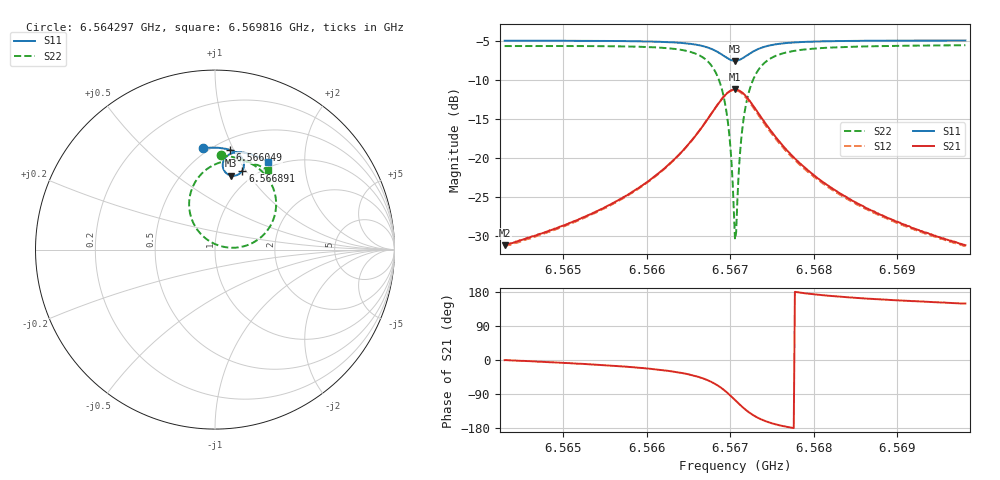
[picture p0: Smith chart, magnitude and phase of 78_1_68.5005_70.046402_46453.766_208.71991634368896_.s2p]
#  HZ  S  RI  R  50.00
! Rohde & Schwarz Vector Network Analyzer
! Rohde-Schwarz,ZNB20-2Port,1311601062101988,3.16
! Created: UTC 3/20/2024, 5:07:10 PM
! freq[Hz]  re:S11  im:S11  re:S21  im:S21  re:S12  im:S12  re:S22  im:S22
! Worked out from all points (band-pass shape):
!   401 points, 6.564297 GHz to 6.569816 GHz, reference 50 ohm
!   highest |S21| = -11.17 dB at 6.567056 GHz (marker M1); lowest = -31.2 dB at 6.564297 GHz (marker M2)
!   |S21| within 3 dB of the highest: 6.566782 GHz to 6.567333 GHz (550.9 kHz wide, 0.00839 % of centre)
!   lowest |S11| = -7.5 dB at 6.567056 GHz (marker M3), VSWR 2.46, Z = 41.1 + j41.3 ohm
!   |S11| at or under -10 dB: nowhere
!   |S22| runs from -30.4 to -5.5 dB; largest |S21 - S12| = 0.013
!   S11 on the Smith chart (normalised r, x): 6.564297 GHz: 0.46, +0.77; 6.566049 GHz: 0.60, +0.97; 6.566891 GHz: 0.86, +0.97; 6.569816 GHz: 0.92, +1.33
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6.5642966e9  -0.0674 0.5649  0.0275 -0.000204  0.0271 -0.000535  0.032 0.5243
6.565221e9  0.0079 0.5679  0.0407 -0.0072  0.0399 -0.00774  0.1187 0.5116
6.5660489e9  0.0844 0.5555  0.0672 -0.0291  0.066 -0.0297  0.2239 0.4662
6.5661455e9  0.0946 0.5519  0.0724 -0.0347  0.0712 -0.0355  0.24 0.4545
6.5664491e9  0.1291 0.5329  0.0931 -0.0665  0.0916 -0.0678  0.2987 0.3917
6.5666698e9  0.1544 0.5022  0.1069 -0.12  0.1044 -0.1222  0.3382 0.2888
6.566794e9  0.1613 0.4714  0.0996 -0.1738  0.0954 -0.1769  0.3311 0.1861
6.5668906e9  0.1526 0.4403  0.0676 -0.2271  0.0602 -0.2299  0.2742 0.0862
6.5669734e9  0.1277 0.4171  0.00779 -0.2646  -0.0028 -0.2645  0.165 0.0196
6.567001e9  0.1157 0.4128  -0.0184 -0.2703  -0.0296 -0.2685  0.1176 0.0108
6.5670424e9  0.096 0.4114  -0.0603 -0.2694  -0.0718 -0.2646  0.043 0.0165
6.5670562e9  0.0894 0.4123  -0.0744 -0.2662  -0.0855 -0.2606  0.0187 0.0235
6.56707e9  0.0829 0.4142  -0.0878 -0.2618  -0.0987 -0.255  -0.00469 0.0329
6.5670838e9  0.0767 0.4168  -0.1009 -0.2559  -0.1111 -0.2483  -0.0268 0.0446
6.5671252e9  0.0608 0.4279  -0.1347 -0.232  -0.1427 -0.2223  -0.0826 0.091
6.5671666e9  0.0497 0.4428  -0.159 -0.2019  -0.1643 -0.1909  -0.1203 0.1472
6.5672218e9  0.0432 0.4642  -0.1759 -0.1594  -0.1779 -0.1487  -0.1424 0.2233
6.5672908e9  0.0454 0.4883  -0.1785 -0.1125  -0.1777 -0.1033  -0.1386 0.305
6.5675391e9  0.0839 0.5323  -0.1352 -0.0248  -0.1321 -0.0208  -0.0407 0.4515
6.5679807e9  0.1446 0.5423  -0.0787 0.00861  -0.0769 0.00969  0.0886 0.4971
6.5689052e9  0.2299 0.5208  -0.0381 0.0149  -0.0372 0.0152  0.2184 0.4787
6.5698158e9  0.2966 0.4877  -0.0236 0.0141  -0.0231 0.0142  0.2972 0.4415
